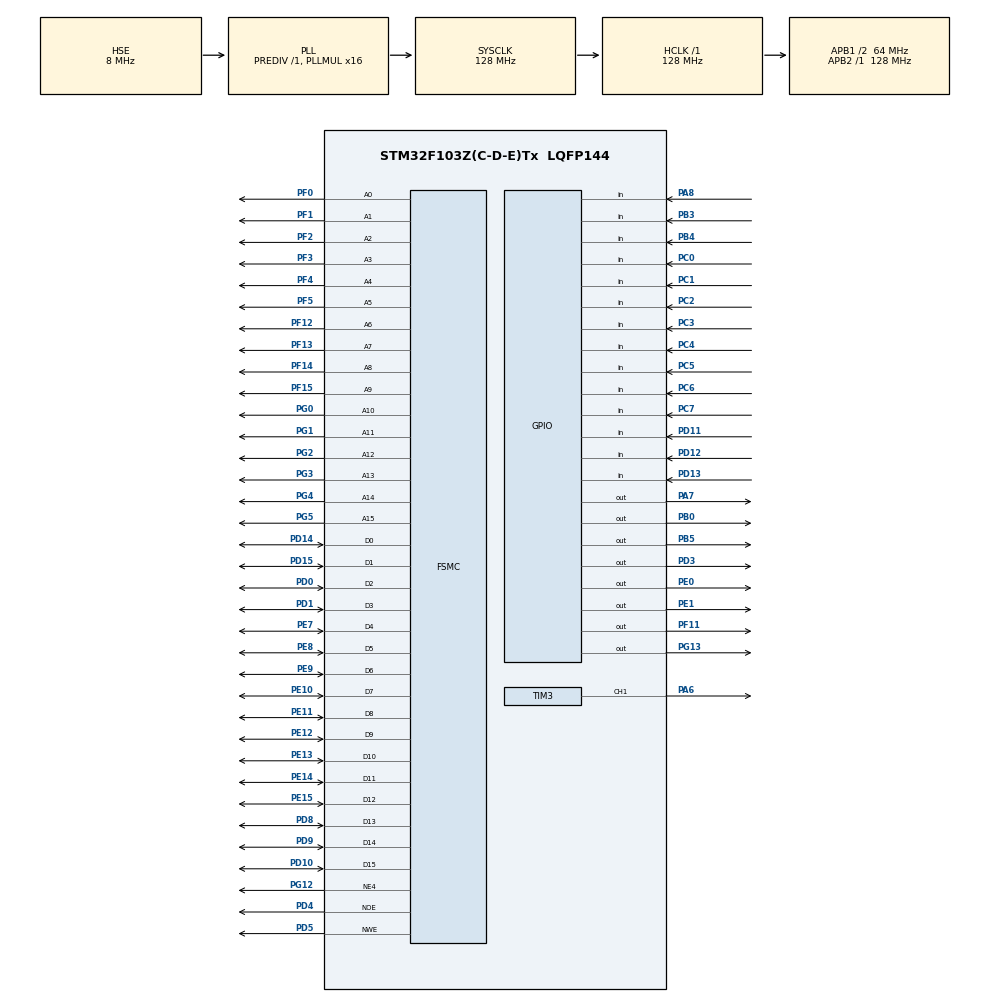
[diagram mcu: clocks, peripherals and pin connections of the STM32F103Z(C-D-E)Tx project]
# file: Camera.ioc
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FSMC.AddressSetupTime4=2
FSMC.BusTurnAroundDuration4=0
FSMC.DataSetupTime4=16
FSMC.ExtendedAddressSetupTime4=4
FSMC.ExtendedDataSetupTime4=9
FSMC.ExtendedMode4=FSMC_EXTENDED_MODE_ENABLE
FSMC.WriteOperation4=FSMC_WRITE_OPERATION_ENABLE
Mcu.Family=STM32F1
Mcu.Name=STM32F103Z(C-D-E)Tx
Mcu.Package=LQFP144
NVIC.PriorityGroup=NVIC_PRIORITYGROUP_4
NVIC.TIM4_IRQn=true\:15\:0\:false\:false\:true\:false\:true\:true
NVIC.TimeBase=TIM4_IRQn
NVIC.TimeBaseIP=TIM4
OSC_IN.Mode=HSE-External-Oscillator
OSC_IN.Signal=RCC_OSC_IN
OSC_OUT.Mode=HSE-External-Oscillator
OSC_OUT.Signal=RCC_OSC_OUT
PA13.Mode=Serial_Wire
PA13.Signal=SYS_JTMS-SWDIO
PA14.Mode=Serial_Wire
PA14.Signal=SYS_JTCK-SWCLK
PA6.GPIO_Speed=GPIO_SPEED_FREQ_HIGH
PA6.Signal=S_TIM3_CH1
PA7.GPIO_PuPd=GPIO_PULLUP
PA7.GPIO_Speed=GPIO_SPEED_FREQ_HIGH
PA7.Signal=GPIO_Output
PA8.GPIO_Mode=GPIO_MODE_INPUT
PA8.Signal=GPIO_Input
PB0.GPIO_PuPd=GPIO_PULLUP
PB0.GPIO_Speed=GPIO_SPEED_FREQ_HIGH
PB0.Signal=GPIO_Output
PB3.Signal=GPIO_Input
PB4.GPIO_Mode=GPIO_MODE_INPUT
PB4.Signal=GPIO_Input
PB5.GPIO_PuPd=GPIO_PULLDOWN
PB5.GPIO_Speed=GPIO_SPEED_FREQ_HIGH
PB5.Signal=GPIO_Output
PC0.GPIO_Mode=GPIO_MODE_INPUT
PC0.GPIO_PuPd=GPIO_NOPULL
PC0.Signal=GPIO_Input
PC1.GPIO_Mode=GPIO_MODE_INPUT
PC1.GPIO_PuPd=GPIO_NOPULL
PC1.Signal=GPIO_Input
PC2.GPIO_Mode=GPIO_MODE_INPUT
PC2.GPIO_PuPd=GPIO_NOPULL
PC2.Signal=GPIO_Input
PC3.GPIO_Mode=GPIO_MODE_INPUT
PC3.GPIO_PuPd=GPIO_NOPULL
PC3.Signal=GPIO_Input
PC4.GPIO_Mode=GPIO_MODE_INPUT
PC4.GPIO_PuPd=GPIO_NOPULL
PC4.Signal=GPIO_Input
PC5.GPIO_Mode=GPIO_MODE_INPUT
PC5.GPIO_PuPd=GPIO_NOPULL
PC5.Signal=GPIO_Input
PC6.GPIO_Mode=GPIO_MODE_INPUT
PC6.GPIO_PuPd=GPIO_NOPULL
PC6.Signal=GPIO_Input
PC7.GPIO_Mode=GPIO_MODE_INPUT
PC7.GPIO_PuPd=GPIO_NOPULL
PC7.Signal=GPIO_Input
PD0.Signal=FSMC_D2_DA2
PD1.Signal=FSMC_D3_DA3
PD10.Signal=FSMC_D15_DA15
PD11.GPIO_Mode=GPIO_MODE_INPUT
PD11.GPIO_PuPd=GPIO_PULLUP
PD11.Signal=GPIO_Input
PD12.Signal=GPIO_Input
PD13.Signal=GPIO_Input
PD14.Signal=FSMC_D0_DA0
PD15.Signal=FSMC_D1_DA1
PD3.GPIO_ModeDefaultOutputPP=GPIO_MODE_OUTPUT_PP
PD3.GPIO_Speed=GPIO_SPEED_FREQ_HIGH
PD3.Signal=GPIO_Output
PD4.Signal=FSMC_NOE
PD5.Signal=FSMC_NWE
PD8.Signal=FSMC_D13_DA13
PD9.Signal=FSMC_D14_DA14
PE0.GPIO_ModeDefaultOutputPP=GPIO_MODE_OUTPUT_PP
PE0.GPIO_Speed=GPIO_SPEED_FREQ_HIGH
PE0.Signal=GPIO_Output
PE1.GPIO_ModeDefaultOutputPP=GPIO_MODE_OUTPUT_OD
PE1.GPIO_PuPd=GPIO_NOPULL
PE1.GPIO_Speed=GPIO_SPEED_FREQ_HIGH
PE1.Signal=GPIO_Output
PE10.Signal=FSMC_D7_DA7
PE11.Signal=FSMC_D8_DA8
PE12.Signal=FSMC_D9_DA9
PE13.Signal=FSMC_D10_DA10
PE14.Signal=FSMC_D11_DA11
PE15.Signal=FSMC_D12_DA12
PE7.Signal=FSMC_D4_DA4
PE8.Signal=FSMC_D5_DA5
PE9.Signal=FSMC_D6_DA6
PF0.Signal=FSMC_A0
PF1.Signal=FSMC_A1
PF11.GPIO_PuPd=GPIO_PULLUP
PF11.GPIO_Speed=GPIO_SPEED_FREQ_HIGH
PF11.Signal=GPIO_Output
PF12.Signal=FSMC_A6
PF13.Signal=FSMC_A7
PF14.Signal=FSMC_A8
PF15.Signal=FSMC_A9
PF2.Signal=FSMC_A2
PF3.Signal=FSMC_A3
PF4.Signal=FSMC_A4
PF5.Signal=FSMC_A5
PG0.Signal=FSMC_A10
PG1.Signal=FSMC_A11
PG12.Mode=NorPsramChipSelect4_4
PG12.Signal=FSMC_NE4
PG13.GPIO_ModeDefaultOutputPP=GPIO_MODE_OUTPUT_OD
PG13.GPIO_PuPd=GPIO_NOPULL
PG13.GPIO_Speed=GPIO_SPEED_FREQ_HIGH
PG13.Signal=GPIO_Output
PG2.Signal=FSMC_A12
PG3.Signal=FSMC_A13
PG4.Signal=FSMC_A14
PG5.Signal=FSMC_A15
ProjectManager.HeapSize=0x200
ProjectManager.StackSize=0x400
ProjectManager.TargetToolchain=STM32CubeIDE
RCC.AHBFreq_Value=128000000
RCC.APB1CLKDivider=RCC_HCLK_DIV2
RCC.APB1Freq_Value=64000000
RCC.APB1TimFreq_Value=128000000
RCC.APB2Freq_Value=128000000
RCC.APB2TimFreq_Value=128000000
RCC.HCLKFreq_Value=128000000
RCC.PLLMUL=RCC_PLL_MUL16
RCC.PLLSourceVirtual=RCC_PLLSOURCE_HSE
RCC.SYSCLKFreq_VALUE=128000000
RCC.SYSCLKSource=RCC_SYSCLKSOURCE_PLLCLK
RCC.USBFreq_Value=128000000
SH.FSMC_A0.0=FSMC_A0,16b-a4
SH.FSMC_A1.0=FSMC_A1,16b-a4
SH.FSMC_A10.0=FSMC_A10,16b-a4
SH.FSMC_A11.0=FSMC_A11,16b-a4
SH.FSMC_A12.0=FSMC_A12,16b-a4
SH.FSMC_A13.0=FSMC_A13,16b-a4
SH.FSMC_A14.0=FSMC_A14,16b-a4
SH.FSMC_A15.0=FSMC_A15,16b-a4
SH.FSMC_A2.0=FSMC_A2,16b-a4
SH.FSMC_A3.0=FSMC_A3,16b-a4
SH.FSMC_A4.0=FSMC_A4,16b-a4
SH.FSMC_A5.0=FSMC_A5,16b-a4
SH.FSMC_A6.0=FSMC_A6,16b-a4
SH.FSMC_A7.0=FSMC_A7,16b-a4
SH.FSMC_A8.0=FSMC_A8,16b-a4
SH.FSMC_A9.0=FSMC_A9,16b-a4
SH.FSMC_D0_DA0.0=FSMC_D0,16b-d4
SH.FSMC_D10_DA10.0=FSMC_D10,16b-d4
SH.FSMC_D11_DA11.0=FSMC_D11,16b-d4
SH.FSMC_D12_DA12.0=FSMC_D12,16b-d4
SH.FSMC_D13_DA13.0=FSMC_D13,16b-d4
SH.FSMC_D14_DA14.0=FSMC_D14,16b-d4
SH.FSMC_D15_DA15.0=FSMC_D15,16b-d4
SH.FSMC_D1_DA1.0=FSMC_D1,16b-d4
SH.FSMC_D2_DA2.0=FSMC_D2,16b-d4
SH.FSMC_D3_DA3.0=FSMC_D3,16b-d4
SH.FSMC_D4_DA4.0=FSMC_D4,16b-d4
SH.FSMC_D5_DA5.0=FSMC_D5,16b-d4
SH.FSMC_D6_DA6.0=FSMC_D6,16b-d4
SH.FSMC_D7_DA7.0=FSMC_D7,16b-d4
SH.FSMC_D8_DA8.0=FSMC_D8,16b-d4
SH.FSMC_D9_DA9.0=FSMC_D9,16b-d4
SH.FSMC_NOE.0=FSMC_NOE,Sram4
SH.FSMC_NWE.0=FSMC_NWE,Sram4
SH.S_TIM3_CH1.0=TIM3_CH1,PWM Generation1 CH1
TIM3.Channel-PWM\ Generation1\ CH1=TIM_CHANNEL_1
TIM3.Pulse-PWM\ Generation1\ CH1=2
VP_SYS_VS_tim4.Mode=TIM4
board=custom

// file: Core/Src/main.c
/* USER CODE BEGIN Header */
/**
  ******************************************************************************
  * @file           : main.c
  * @brief          : Main program body
  ******************************************************************************
  * @attention
  *
  * Copyright (c) 2026 STMicroelectronics.
  * All rights reserved.
  *
  * This software is licensed under terms that can be found in the LICENSE file
  * in the root directory of this software component.
  * If no LICENSE file comes with this software, it is provided AS-IS.
  *
  ******************************************************************************
  */
/* USER CODE END Header */
#include "main.h"
#include "tim.h"
#include "gpio.h"
#include "fsmc.h"

/* USER CODE BEGIN Includes */
#include "lcd.h"
#include "ov7670.h"
/* USER CODE END Includes */

/* USER CODE BEGIN PTD */
/* USER CODE BEGIN 0 */
DMA_HandleTypeDef hdma_memtomem;

// DMA初始化：存储器到存储器模式，专为LCD刷屏优化
DMA_HandleTypeDef hdma_memtomem;

/* USER CODE END 0 */
/* USER CODE END PTD */

void SystemClock_Config(void);

int main(void)
{

  /* USER CODE BEGIN 1 */
  __HAL_RCC_AFIO_CLK_ENABLE();
  __HAL_AFIO_REMAP_SWJ_NOJTAG(); // 释放PB4
  /* USER CODE END 1 */

  /* MCU Configuration--------------------------------------------------------*/

  /* Reset of all peripherals, Initializes the Flash interface and the Systick. */
  HAL_Init();

  /* Configure the system clock */
  SystemClock_Config();

  /* Initialize all configured peripherals */

  MX_GPIO_Init();
  MX_FSMC_Init();
  MX_TIM3_Init();
  /* USER CODE BEGIN 2 */

  HAL_TIM_PWM_Start(&htim3, TIM_CHANNEL_1);
  LCD_Init();
  HAL_GPIO_WritePin(GPIOF, GPIO_PIN_11, GPIO_PIN_RESET);
  HAL_GPIO_WritePin(GPIOB, GPIO_PIN_0, GPIO_PIN_SET);
  HAL_GPIO_WritePin(GPIOA, GPIO_PIN_7, GPIO_PIN_RESET); // 拉低复位
  HAL_Delay(10);                                        // 延时 10ms
  HAL_GPIO_WritePin(GPIOA, GPIO_PIN_7, GPIO_PIN_SET);   // 拉高释放复位
  HAL_Delay(10);                                        // 等待摄像头稳定
  OV7670_Init();
  /* USER CODE END 2 */

  /* Infinite loop */
  /* USER CODE BEGIN WHILE */
  while (1)
  {
    OV7670_Capture_To_LCD();
    /* USER CODE END WHILE */

  }
}

void SystemClock_Config(void)
{
  RCC_OscInitTypeDef RCC_OscInitStruct = {0};
  RCC_ClkInitTypeDef RCC_ClkInitStruct = {0};

  /** Initializes the RCC Oscillators according to the specified parameters
  * in the RCC_OscInitTypeDef structure.
  */
  RCC_OscInitStruct.OscillatorType = RCC_OSCILLATORTYPE_HSE;
  RCC_OscInitStruct.HSEState = RCC_HSE_ON;
  RCC_OscInitStruct.HSEPredivValue = RCC_HSE_PREDIV_DIV1;
  RCC_OscInitStruct.HSIState = RCC_HSI_ON;
  RCC_OscInitStruct.PLL.PLLState = RCC_PLL_ON;
  RCC_OscInitStruct.PLL.PLLSource = RCC_PLLSOURCE_HSE;
  RCC_OscInitStruct.PLL.PLLMUL = RCC_PLL_MUL16;
  if (HAL_RCC_OscConfig(&RCC_OscInitStruct) != HAL_OK)
  {
    Error_Handler();
  }

  /** Initializes the CPU, AHB and APB buses clocks
  */
  RCC_ClkInitStruct.ClockType = RCC_CLOCKTYPE_HCLK|RCC_CLOCKTYPE_SYSCLK
                              |RCC_CLOCKTYPE_PCLK1|RCC_CLOCKTYPE_PCLK2;
  RCC_ClkInitStruct.SYSCLKSource = RCC_SYSCLKSOURCE_PLLCLK;
  RCC_ClkInitStruct.AHBCLKDivider = RCC_SYSCLK_DIV1;
  RCC_ClkInitStruct.APB1CLKDivider = RCC_HCLK_DIV2;
  RCC_ClkInitStruct.APB2CLKDivider = RCC_HCLK_DIV1;

  if (HAL_RCC_ClockConfig(&RCC_ClkInitStruct, FLASH_LATENCY_2) != HAL_OK)
  {
    Error_Handler();
  }
}

void HAL_TIM_PeriodElapsedCallback(TIM_HandleTypeDef *htim)
{
  if (htim->Instance == TIM4)
  {
    HAL_IncTick();
  }
}

void Error_Handler(void)
{
  __disable_irq();
  while (1)
  {
  }
}
